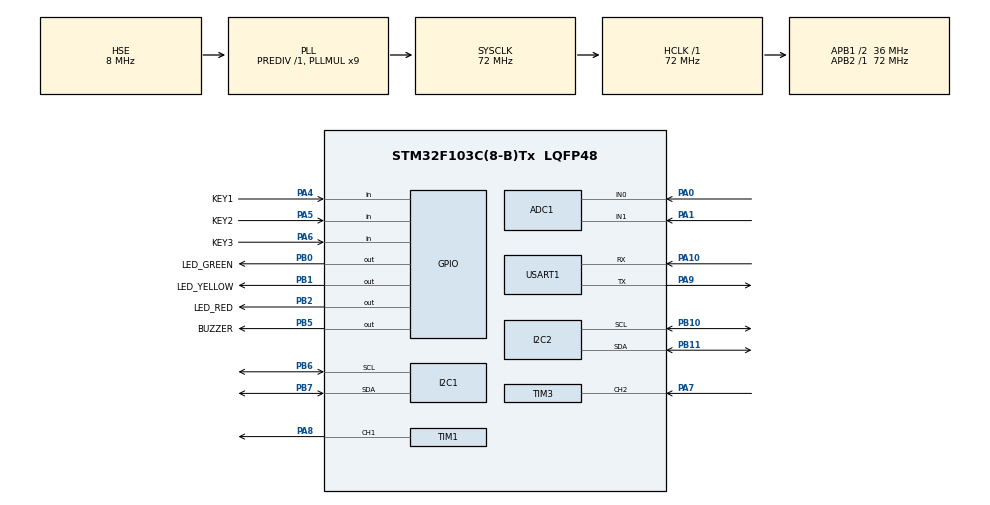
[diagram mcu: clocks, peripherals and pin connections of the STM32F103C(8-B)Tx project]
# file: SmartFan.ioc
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ADC1.Channel-0\#ChannelRegularConversion=ADC_CHANNEL_0
ADC1.NbrOfConversionFlag=1
ADC1.Rank-0\#ChannelRegularConversion=1
ADC1.SamplingTime-0\#ChannelRegularConversion=ADC_SAMPLETIME_1CYCLE_5
ADC1.master=1
IWDG.Prescaler=IWDG_PRESCALER_64
IWDG.Reload=2500
Mcu.Family=STM32F1
Mcu.Name=STM32F103C(8-B)Tx
Mcu.Package=LQFP48
NVIC.PriorityGroup=NVIC_PRIORITYGROUP_4
NVIC.TIM3_IRQn=true\:1\:0\:true\:false\:true\:true\:true\:true
PA0-WKUP.Signal=ADCx_IN0
PA1.Signal=ADCx_IN1
PA10.Mode=Asynchronous
PA10.Signal=USART1_RX
PA13.Mode=Serial_Wire
PA13.Signal=SYS_JTMS-SWDIO
PA14.Mode=Serial_Wire
PA14.Signal=SYS_JTCK-SWCLK
PA4.GPIO_Label=KEY1
PA4.GPIO_PuPd=GPIO_PULLUP
PA4.Signal=GPIO_Input
PA5.GPIO_Label=KEY2
PA5.GPIO_PuPd=GPIO_PULLUP
PA5.Signal=GPIO_Input
PA6.GPIO_Label=KEY3
PA6.GPIO_PuPd=GPIO_PULLUP
PA6.Signal=GPIO_Input
PA7.GPIO_PuPd=GPIO_PULLUP
PA7.Signal=S_TIM3_CH2
PA8.Signal=S_TIM1_CH1
PA9.Mode=Asynchronous
PA9.Signal=USART1_TX
PB0.GPIO_Label=LED_GREEN
PB0.PinState=GPIO_PIN_SET
PB0.Signal=GPIO_Output
PB1.GPIO_Label=LED_YELLOW
PB1.PinState=GPIO_PIN_SET
PB1.Signal=GPIO_Output
PB10.Mode=I2C
PB10.Signal=I2C2_SCL
PB11.Mode=I2C
PB11.Signal=I2C2_SDA
PB2.GPIO_Label=LED_RED
PB2.PinState=GPIO_PIN_SET
PB2.Signal=GPIO_Output
PB5.GPIO_Label=BUZZER
PB5.PinState=GPIO_PIN_SET
PB5.Signal=GPIO_Output
PB6.Mode=I2C
PB6.Signal=I2C1_SCL
PB7.Mode=I2C
PB7.Signal=I2C1_SDA
PD0-OSC_IN.Mode=HSE-External-Oscillator
PD0-OSC_IN.Signal=RCC_OSC_IN
PD1-OSC_OUT.Mode=HSE-External-Oscillator
PD1-OSC_OUT.Signal=RCC_OSC_OUT
ProjectManager.HeapSize=0x200
ProjectManager.StackSize=0x400
ProjectManager.TargetToolchain=MDK-ARM V5.32
RCC.ADCPresc=RCC_ADCPCLK2_DIV6
RCC.AHBFreq_Value=72000000
RCC.APB1CLKDivider=RCC_HCLK_DIV2
RCC.APB1Freq_Value=36000000
RCC.APB1TimFreq_Value=72000000
RCC.APB2Freq_Value=72000000
RCC.APB2TimFreq_Value=72000000
RCC.HCLKFreq_Value=72000000
RCC.PLLMUL=RCC_PLL_MUL9
RCC.PLLSourceVirtual=RCC_PLLSOURCE_HSE
RCC.SYSCLKFreq_VALUE=72000000
RCC.SYSCLKSource=RCC_SYSCLKSOURCE_PLLCLK
RCC.USBFreq_Value=72000000
SH.ADCx_IN0.0=ADC1_IN0,IN0
SH.ADCx_IN1.0=ADC1_IN1,IN1
SH.S_TIM1_CH1.0=TIM1_CH1,PWM Generation1 CH1
SH.S_TIM3_CH2.0=TIM3_CH2,Input_Capture2_from_TI2
TIM1.Channel-PWM\ Generation1\ CH1=TIM_CHANNEL_1
TIM1.Period=2879
TIM3.Channel-Input_Capture2_from_TI2=TIM_CHANNEL_2
TIM3.ICFilter_CH2=15
TIM3.ICPolarity_CH2=TIM_INPUTCHANNELPOLARITY_FALLING
TIM3.Prescaler=71
USART1.VirtualMode=VM_ASYNC
VP_IWDG_VS_IWDG.Mode=IWDG_Activate
VP_TIM1_VS_ClockSourceINT.Mode=Internal
VP_TIM3_VS_ClockSourceINT.Mode=Internal
board=custom

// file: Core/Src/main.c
/* USER CODE BEGIN Header */
/**
  ******************************************************************************
  * @file           : main.c
  * @brief          : Main program body
  ******************************************************************************
  * @attention
  *
  * Copyright (c) 2026 STMicroelectronics.
  * All rights reserved.
  *
  * This software is licensed under terms that can be found in the LICENSE file
  * in the root directory of this software component.
  * If no LICENSE file comes with this software, it is provided AS-IS.
  *
  ******************************************************************************
  */
/* USER CODE END Header */
#include "main.h"
#include "adc.h"
#include "i2c.h"
#include "iwdg.h"
#include "tim.h"
#include "usart.h"
#include "gpio.h"

/* USER CODE BEGIN Includes */
#include "bsp_config.h"
#include "bsp_aht20.h"
#include "bsp_mlx90614.h"
#include "bsp_oled.h"
#include "bsp_pid.h"
#include "bsp_humidity.h"
#include "bsp_flash_storage.h"
#include "bsp_fan_tacho.h"
#include <stdio.h>
#include <string.h>
#include <math.h>
#include <stdarg.h>
/* USER CODE END Includes */

/* USER CODE BEGIN PV */
SystemData_t g_sys = {
    .state = SYS_STATE_PREHEAT,
    .fan_delay_sec = FAN_DELAY_DEFAULT,
    .acs712_zero_adc = ACS712_ZERO_CURRENT_ADC_DEFAULT,
    .acs712_stall_threshold = ACS712_STALL_THRESHOLD_DEFAULT,
};

static PID_Controller_t g_pid;
static uint8_t outdoor_fail_count = 0;

/* 非阻塞 AHT20 句柄 */
static AHT20_Handle_t h_aht20_indoor;
static AHT20_Handle_t h_aht20_outdoor;

/* 室内传感器连续失败计数 */
static uint8_t indoor_aht20_fail_cnt = 0;
/* USER CODE END PV */

void SystemClock_Config(void);
/* USER CODE BEGIN PFP */
static void App_Init(void);
static void App_ReadSensors(void);
static void App_UpdateStateMachine(void);
static void App_ExecuteOutput(void);
static void App_UpdateDisplay(void);
static void App_HandleKeys(void);
static void App_FlashDeferredSave(void);
static void App_ACS712_PeakTrack(void);

static uint16_t ADC_ReadChannel(uint32_t channel);
static uint16_t ADC_ReadFiltered(uint32_t channel, uint8_t count);
static float Filter_SlidingAverage(float new_value, float *buf, uint8_t size, uint8_t *index, bool *filled);
static bool Detect_HotWater(float t_water, float t_ambient);
static bool Detect_GasAlarm(uint16_t gas_adc);
static bool Detect_FanStall(uint16_t current_adc, uint16_t pwm_duty);
static float Convert_ACS712_ToCurrent(uint16_t adc_value);
static void ACS712_CalibrateZero(void);
static void I2C2_BusRecovery(void);
static void Fan_SetDuty(uint16_t duty);
static void Fan_Stop(void);
static void Buzzer_On(void);
static void Buzzer_Off(void);
static void LED_Set(bool green, bool yellow, bool red);
static void Debug_Print(const char *fmt, ...);

/* 温度 / 湿度双通道调速 */
static float Calc_TempDuty(float delta_t, float ambient_temp);
static uint16_t SlewRateLimit(float target, uint16_t current);
/* USER CODE END PFP */

int main(void)
{

  /* MCU Configuration--------------------------------------------------------*/

  /* Reset of all peripherals, Initializes the Flash interface and the Systick. */
  HAL_Init();

  /* Configure the system clock */
  SystemClock_Config();

  /* Initialize all configured peripherals */
  MX_GPIO_Init();
  MX_ADC1_Init();
  MX_I2C1_Init();
  MX_TIM1_Init();
  MX_USART1_UART_Init();
  MX_I2C2_Init();
  MX_TIM3_Init();
  MX_IWDG_Init();
  /* USER CODE BEGIN 2 */
  App_Init();
  /* USER CODE END 2 */

  /* Infinite loop */
  while (1)
  {

    /* USER CODE BEGIN 3 */
    App_HandleKeys();
    App_ReadSensors();
    App_UpdateStateMachine();
    App_ExecuteOutput();
    App_UpdateDisplay();
    App_FlashDeferredSave();
    App_ACS712_PeakTrack();
  }
  /* USER CODE END 3 */
}

void SystemClock_Config(void)
{
  RCC_OscInitTypeDef RCC_OscInitStruct = {0};
  RCC_ClkInitTypeDef RCC_ClkInitStruct = {0};
  RCC_PeriphCLKInitTypeDef PeriphClkInit = {0};

  /** Initializes the RCC Oscillators according to the specified parameters
  * in the RCC_OscInitTypeDef structure.
  */
  RCC_OscInitStruct.OscillatorType = RCC_OSCILLATORTYPE_LSI|RCC_OSCILLATORTYPE_HSE;
  RCC_OscInitStruct.HSEState = RCC_HSE_ON;
  RCC_OscInitStruct.HSEPredivValue = RCC_HSE_PREDIV_DIV1;
  RCC_OscInitStruct.HSIState = RCC_HSI_ON;
  RCC_OscInitStruct.LSIState = RCC_LSI_ON;
  RCC_OscInitStruct.PLL.PLLState = RCC_PLL_ON;
  RCC_OscInitStruct.PLL.PLLSource = RCC_PLLSOURCE_HSE;
  RCC_OscInitStruct.PLL.PLLMUL = RCC_PLL_MUL9;
  if (HAL_RCC_OscConfig(&RCC_OscInitStruct) != HAL_OK)
  {
    Error_Handler();
  }

  /** Initializes the CPU, AHB and APB buses clocks
  */
  RCC_ClkInitStruct.ClockType = RCC_CLOCKTYPE_HCLK|RCC_CLOCKTYPE_SYSCLK
                              |RCC_CLOCKTYPE_PCLK1|RCC_CLOCKTYPE_PCLK2;
  RCC_ClkInitStruct.SYSCLKSource = RCC_SYSCLKSOURCE_PLLCLK;
  RCC_ClkInitStruct.AHBCLKDivider = RCC_SYSCLK_DIV1;
  RCC_ClkInitStruct.APB1CLKDivider = RCC_HCLK_DIV2;
  RCC_ClkInitStruct.APB2CLKDivider = RCC_HCLK_DIV1;

  if (HAL_RCC_ClockConfig(&RCC_ClkInitStruct, FLASH_LATENCY_2) != HAL_OK)
  {
    Error_Handler();
  }
  PeriphClkInit.PeriphClockSelection = RCC_PERIPHCLK_ADC;
  PeriphClkInit.AdcClockSelection = RCC_ADCPCLK2_DIV6;
  if (HAL_RCCEx_PeriphCLKConfig(&PeriphClkInit) != HAL_OK)
  {
    Error_Handler();
  }
}

/* USER CODE BEGIN 4 */

/* ======================== 应用层初始化 ======================== */
static void App_Init(void)
{
    FlashStorage_t flash_data;

    /* 启动 PWM 输出 */
    HAL_TIM_PWM_Start(&htim1, TIM_CHANNEL_1);
    Fan_Stop();
    LED_Set(false, false, false);
    Buzzer_Off();

    /* ADC 自校准 */
    HAL_ADCEx_Calibration_Start(&hadc1);

    /* 从 Flash 加载参数 (带范围校验) */
    if (Flash_Load(&flash_data)) {
        if (flash_data.fan_delay_sec >= FAN_DELAY_MIN &&
            flash_data.fan_delay_sec <= FAN_DELAY_MAX) {
            g_sys.fan_delay_sec = flash_data.fan_delay_sec;
        }
        if (flash_data.pid_kp >= 0.0f && flash_data.pid_kp <= 10000.0f &&
            flash_data.pid_ki >= 0.0f && flash_data.pid_ki <= 1000.0f &&
            flash_data.pid_kd >= 0.0f && flash_data.pid_kd <= 10000.0f) {
            PID_Init(&g_pid, flash_data.pid_kp, flash_data.pid_ki, flash_data.pid_kd,
                     PID_OUTPUT_MIN, PID_OUTPUT_MAX);
        } else {
            PID_Init(&g_pid, PID_KP_DEFAULT, PID_KI_DEFAULT, PID_KD_DEFAULT,
                     PID_OUTPUT_MIN, PID_OUTPUT_MAX);
        }
        if (flash_data.acs_zero_adc >= 1500 && flash_data.acs_zero_adc <= 2200) {
            g_sys.acs712_zero_adc = flash_data.acs_zero_adc;
        }
        Debug_Print("Flash: 参数加载成功\r\n");
    } else {
        PID_Init(&g_pid, PID_KP_DEFAULT, PID_KI_DEFAULT, PID_KD_DEFAULT,
                 PID_OUTPUT_MIN, PID_OUTPUT_MAX);
        Debug_Print("Flash: 首次启动, 使用默认参数\r\n");
    }

    /* 初始化室内 AHT20 (I2C1) — 阻塞初始化命令 + 非阻塞句柄 */
    if (AHT20_Init(&hi2c1) == HAL_OK) {
        g_sys.indoor_aht20_ok = true;
    } else {
        g_sys.indoor_aht20_ok = false;
        Debug_Print("ERR:AHT20 室内 Init Fail\r\n");
    }
    AHT20_Handle_Init(&h_aht20_indoor, &hi2c1);
    g_sys.indoor_aht20_last = HAL_GetTick();

    /* 初始化室外 AHT20 (I2C2) */
    if (AHT20_Init(&hi2c2) == HAL_OK) {
        g_sys.outdoor_sensor_ok = true;
    } else {
        g_sys.outdoor_sensor_ok = false;
        Debug_Print("WARN:AHT20 室外 Init Fail\r\n");
    }
    AHT20_Handle_Init(&h_aht20_outdoor, &hi2c2);

    /* 初始化风扇测速 */
    FanTacho_Init();

    /* 初始化 OLED 显示屏 */
    OLED_Init(&hi2c1);
    OLED_Clear();
    OLED_ShowString(0, 0, "Smart Exhaust V3");
    OLED_ShowString(0, 2, "MQ2 Preheating");
    OLED_ShowString(0, 4, "ACS712 Calib...");
    OLED_Refresh();

    /* ACS712 零点自适应校准 (风扇静止时采样) */
    ACS712_CalibrateZero();

    /* 非阻塞预热: 记录时间, 进入 PREHEAT 状态 */
    g_sys.preheat_start_tick = HAL_GetTick();
    g_sys.state = SYS_STATE_PREHEAT;
    g_sys.mq2_ready = false;

    Debug_Print("系统启动... MQ-2 非阻塞预热中\r\n");
}

/* ======================== 传感器采样 ======================== */
static void App_ReadSensors(void)
{
    static float ir_obj_buf[TEMP_FILTER_SIZE] = {0};
    static float env_temp_buf[TEMP_FILTER_SIZE] = {0};
    static uint8_t ir_idx = 0, env_idx = 0;
    static bool ir_filled = false, env_filled = false;
    float mlx_ta = 0.0f, mlx_tobj = 0.0f;
    uint32_t now = HAL_GetTick();

    /* ---- 室内 AHT20 (非阻塞) ---- */
    AHT20_Poll(&h_aht20_indoor);
    if (h_aht20_indoor.data_fresh) {
        g_sys.ambient_temp = Filter_SlidingAverage(
            h_aht20_indoor.temperature, env_temp_buf, TEMP_FILTER_SIZE, &env_idx, &env_filled);
        g_sys.ambient_humi = h_aht20_indoor.humidity;
        g_sys.indoor_abs_humi = Humidity_CalcAbsolute(g_sys.ambient_temp, g_sys.ambient_humi);
        g_sys.indoor_aht20_ok = true;
        g_sys.indoor_aht20_last = now;
        indoor_aht20_fail_cnt = 0;
    } else if (h_aht20_indoor.state == AHT20_STATE_ERROR) {
        if (indoor_aht20_fail_cnt < 255) indoor_aht20_fail_cnt++;
        if (indoor_aht20_fail_cnt >= INDOOR_AHT20_FAIL_DEGRADE) {
            g_sys.indoor_aht20_ok = false;
        }
    }
    if (g_sys.indoor_aht20_ok && (now - g_sys.indoor_aht20_last > SENSOR_STALE_TIMEOUT_MS)) {
        g_sys.indoor_aht20_ok = false;
    }

    /* ---- 室外 AHT20 (非阻塞) ---- */
    AHT20_Poll(&h_aht20_outdoor);
    if (h_aht20_outdoor.data_fresh) {
        g_sys.outdoor_temp = h_aht20_outdoor.temperature;
        g_sys.outdoor_humi = h_aht20_outdoor.humidity;
        g_sys.outdoor_abs_humi = Humidity_CalcAbsolute(g_sys.outdoor_temp, g_sys.outdoor_humi);
        g_sys.outdoor_sensor_ok = true;
        outdoor_fail_count = 0;
    } else if (h_aht20_outdoor.state == AHT20_STATE_ERROR) {
        if (++outdoor_fail_count >= ABS_HUMI_OUTDOOR_FAIL_MAX) {
            g_sys.outdoor_sensor_ok = false;
            g_sys.outdoor_temp = ABS_HUMI_OUTDOOR_DEFAULT_T;
            g_sys.outdoor_humi = ABS_HUMI_OUTDOOR_DEFAULT_RH;
            g_sys.outdoor_abs_humi = Humidity_CalcAbsolute(ABS_HUMI_OUTDOOR_DEFAULT_T, ABS_HUMI_OUTDOOR_DEFAULT_RH);
            if (outdoor_fail_count == ABS_HUMI_OUTDOOR_FAIL_MAX) {
                I2C2_BusRecovery();
                AHT20_Init(&hi2c2);
                AHT20_Handle_Init(&h_aht20_outdoor, &hi2c2);
                outdoor_fail_count = 0;
            }
        }
    }

    /* ---- 红外测温 MLX90614 (I2C1, 交替读 Ta/Tobj 减半阻塞) ---- */
    {
        static uint32_t mlx_last_read = 0;
        static bool mlx_read_ta_next = true;
        static uint8_t mlx_ta_fail_cnt = 0;
        static uint8_t mlx_obj_fail_cnt = 0;
        if (now - mlx_last_read >= 150) {
            mlx_last_read = now;
            HAL_StatusTypeDef ret;
            if (mlx_read_ta_next) {
                ret = MLX90614_ReadAmbient(&hi2c1, &mlx_ta);
                if (ret == HAL_OK) {
                    g_sys.ir_ambient_temp = mlx_ta;
                    g_sys.mlx90614_ok = true;
                    g_sys.mlx90614_last = now;
                    mlx_ta_fail_cnt = 0;
                } else {
                    if (mlx_ta_fail_cnt < 255) mlx_ta_fail_cnt++;
                    if (mlx_ta_fail_cnt >= MLX90614_FAIL_DEGRADE) {
                        g_sys.mlx90614_ok = false;
                    }
                }
            } else {
                ret = MLX90614_ReadObject(&hi2c1, &mlx_tobj);
                if (ret == HAL_OK) {
                    g_sys.ir_object_temp = Filter_SlidingAverage(mlx_tobj, ir_obj_buf, TEMP_FILTER_SIZE, &ir_idx, &ir_filled);
                    g_sys.mlx90614_obj_ok = true;
                    g_sys.mlx90614_obj_last = now;
                    mlx_obj_fail_cnt = 0;
                } else {
                    if (mlx_obj_fail_cnt < 255) mlx_obj_fail_cnt++;
                    if (mlx_obj_fail_cnt >= MLX90614_FAIL_DEGRADE) {
                        g_sys.mlx90614_obj_ok = false;
                    }
                }
            }
            mlx_read_ta_next = !mlx_read_ta_next;
        }
    }
    if (g_sys.mlx90614_ok && (now - g_sys.mlx90614_last > SENSOR_STALE_TIMEOUT_MS)) {
        g_sys.mlx90614_ok = false;
    }
    if (g_sys.mlx90614_obj_ok && (now - g_sys.mlx90614_obj_last > SENSOR_STALE_TIMEOUT_MS)) {
        g_sys.mlx90614_obj_ok = false;
    }

    /* ---- ADC 采样: 气体 + 电流 ---- */
    g_sys.gas_adc = ADC_ReadFiltered(MQ2_ADC_CHANNEL, ADC_FILTER_SIZE);
    g_sys.current_adc = ADC_ReadFiltered(ACS712_ADC_CHANNEL, ADC_FILTER_SIZE);
    g_sys.fan_current_a = Convert_ACS712_ToCurrent(g_sys.current_adc);

    /* ---- 风扇转速 ---- */
    g_sys.fan_rpm = FanTacho_GetRPM();

    /* ---- 状态判断 ---- */
    g_sys.gas_detected = g_sys.mq2_ready ? Detect_GasAlarm(g_sys.gas_adc) : false;
    /* 热水判定需要 MLX90614 Tobj 和室内 AHT20 同时有效 */
    g_sys.hot_water_detected = (g_sys.mlx90614_obj_ok && g_sys.indoor_aht20_ok) ?
        Detect_HotWater(g_sys.ir_object_temp, g_sys.ambient_temp) : false;
    g_sys.stall_detected = Detect_FanStall(g_sys.current_adc, g_sys.pwm_duty);
    /* 传感器降级时禁止收敛判定, 仅走基础延时 + 强制超时 */
    g_sys.humidity_converged = (g_sys.indoor_aht20_ok && g_sys.outdoor_sensor_ok) ?
        Humidity_IsConverged(g_sys.indoor_abs_humi, g_sys.outdoor_abs_humi) : false;
}

/* ======================== 状态机 ======================== */
static void App_UpdateStateMachine(void)
{
    SystemState_t prev = g_sys.state;

    /* PREHEAT 特殊处理: 预热完成后转 IDLE */
    if (g_sys.state == SYS_STATE_PREHEAT) {
        if ((HAL_GetTick() - g_sys.preheat_start_tick) >= MQ2_PREHEAT_TIME_MS) {
            g_sys.mq2_ready = true;
            g_sys.state = SYS_STATE_IDLE;
            Debug_Print("MQ-2 就绪\r\n");
        }
        if (prev != g_sys.state) {
            Debug_Print("State: %d -> %d\r\n", prev, g_sys.state);
        }
        return;
    }

    /* --- 堵转锁存: stall_detected 须持续 STALL_LATCH_CONFIRM_MS 才真正锁存 --- */
    if (g_sys.stall_detected && !g_sys.stall_latched) {
        if (g_sys.stall_latch_pending_tick == 0) {
            g_sys.stall_latch_pending_tick = HAL_GetTick();
        } else if ((HAL_GetTick() - g_sys.stall_latch_pending_tick) >= STALL_LATCH_CONFIRM_MS) {
            g_sys.stall_latched = true;
            g_sys.stall_latch_pending_tick = 0;
            g_sys.emerg_phase = 0;
            g_sys.emerg_running = false;
            g_sys.emerg_retry_tick = HAL_GetTick();
            Debug_Print("堵转锁存!\r\n");
        }
    } else if (!g_sys.stall_detected && !g_sys.stall_latched) {
        /* stall_detected 消失且尚未锁存 → 重置确认计时 */
        g_sys.stall_latch_pending_tick = 0;
    }

    /* --- 状态转换逻辑 --- */
    if (g_sys.stall_latched) {
        /* 堵转已锁存期间 */
        if (g_sys.gas_detected) {
            g_sys.state = SYS_STATE_STALL_GAS_EMERG;
        } else {
            /* 气体解除 or 没有气体 → 普通堵转锁存 */
            if (g_sys.state == SYS_STATE_STALL_GAS_EMERG) {
                /* 退出应急: 停风扇, 重置应急状态 */
                g_sys.emerg_phase = 0;
                g_sys.emerg_running = false;
            }
            g_sys.state = SYS_STATE_STALL_FAULT;
        }
    } else {
        /* 无堵转锁存 — 正常优先级逻辑 */
        if (g_sys.gas_detected) {
            g_sys.state = SYS_STATE_GAS_ALARM;
        } else {
            switch (g_sys.state) {
            case SYS_STATE_GAS_ALARM:
                g_sys.state = g_sys.hot_water_detected ? SYS_STATE_HOT_WATER : SYS_STATE_IDLE;
                break;

            case SYS_STATE_IDLE:
                if (g_sys.hot_water_detected) {
                    g_sys.state = SYS_STATE_HOT_WATER;
                    PID_Reset(&g_pid);
                    PID_SetSetpoint(&g_pid, g_sys.outdoor_abs_humi);
                }
                break;

            case SYS_STATE_HOT_WATER:
                /* setpoint 刷新已移至 App_ExecuteOutput() 中 PID_Compute 调用前 */
                if (!g_sys.hot_water_detected) {
                    g_sys.state = SYS_STATE_DELAY_STOP;
                    g_sys.delay_start_tick = HAL_GetTick();
                    g_sys.delay_stop_enter_tick = HAL_GetTick(); /* 记录进入时刻, 用于温度衰减 */
                }
                break;

            case SYS_STATE_DELAY_STOP: {
                uint32_t elapsed = HAL_GetTick() - g_sys.delay_start_tick;
                uint32_t base_ms = g_sys.fan_delay_sec * 1000UL;
                uint32_t force_ms = g_sys.fan_delay_sec * FAN_DELAY_FORCE_MULT * 1000UL;

                if (g_sys.hot_water_detected) {
                    g_sys.state = SYS_STATE_HOT_WATER;
                } else if (elapsed < base_ms) {
                    /* 基础延时阶段: 无条件运行 */
                } else if (g_sys.humidity_converged) {
                    g_sys.state = SYS_STATE_IDLE;
                    PID_Reset(&g_pid);
                } else if (elapsed >= force_ms) {
                    g_sys.state = SYS_STATE_IDLE;
                    PID_Reset(&g_pid);
                    Debug_Print("强制超时停机\r\n");
                }
                break;
            }

            default:
                g_sys.state = SYS_STATE_IDLE;
                break;
            }
        }
    }

    if (prev != g_sys.state) {
        Debug_Print("State: %d -> %d\r\n", prev, g_sys.state);
    }
}

/* ======================== 执行输出 ======================== */
static void App_ExecuteOutput(void)
{
    static uint32_t beep_tick = 0;
    static bool beep_flip = false;
    uint16_t min_duty = (uint16_t)(PWM_MAX_DUTY * HOT_WATER_MIN_DUTY_PCT / 100);
    uint16_t temp_limit = (uint16_t)(PWM_MAX_DUTY * TEMP_LIMIT_MAX_DUTY_PCT / 100);
    uint16_t outdoor_degrade_duty = (uint16_t)(PWM_MAX_DUTY * OUTDOOR_DEGRADE_DUTY_PCT / 100);

    /* 喂狗 */
    HAL_IWDG_Refresh(&hiwdg);

    switch (g_sys.state) {
    case SYS_STATE_PREHEAT:
        g_sys.pwm_duty = 0;
        Fan_Stop();
        /* 黄灯慢闪表示预热中 */
        LED_Set(false, (HAL_GetTick() / 500) & 1, false);
        Buzzer_Off();
        break;

    case SYS_STATE_GAS_ALARM:
        g_sys.pwm_duty = PWM_MAX_DUTY;
        Fan_SetDuty(g_sys.pwm_duty);
        LED_Set(false, false, true);
        if (HAL_GetTick() - beep_tick >= 200) {
            beep_tick = HAL_GetTick();
            beep_flip = !beep_flip;
            if (beep_flip) Buzzer_On(); else Buzzer_Off();
        }
        break;

    case SYS_STATE_STALL_FAULT:
        g_sys.pwm_duty = 0;
        Fan_Stop();
        LED_Set(false, false, true);
        if (HAL_GetTick() - beep_tick >= 500) {
            beep_tick = HAL_GetTick();
            beep_flip = !beep_flip;
            if (beep_flip) Buzzer_On(); else Buzzer_Off();
        }
        break;

    case SYS_STATE_STALL_GAS_EMERG: {
        /* 更急促的蜂鸣器报警: 100ms 翻转 */
        LED_Set(false, false, true);
        if (HAL_GetTick() - beep_tick >= 100) {
            beep_tick = HAL_GetTick();
            beep_flip = !beep_flip;
            if (beep_flip) Buzzer_On(); else Buzzer_Off();
        }

        /* --- 间歇试启动逻辑 --- */
        uint16_t emerg_duty = (uint16_t)(PWM_MAX_DUTY * EMERG_RETRY_DUTY_PCT / 100);
        uint32_t now_e = HAL_GetTick();

        if (g_sys.emerg_phase == 0) {
            /* 冷却/等待阶段 */
            g_sys.pwm_duty = 0;
            Fan_Stop();
            if (now_e - g_sys.emerg_retry_tick >= EMERG_RETRY_INTERVAL_MS) {
                /* 开始试启动 */
                g_sys.emerg_phase = 1;
                g_sys.emerg_retry_tick = now_e;
                g_sys.emerg_running = true;
                Debug_Print("EMERG: 试启动\r\n");
            }
        } else {
            /* 试运行阶段 */
            uint32_t run_elapsed = now_e - g_sys.emerg_retry_tick;

            /* 电流异常检查: 仅在旋转建立宽限期之后 (启动浪涌电流正常, 不检查) */
            bool current_abnormal_e = false;
            if (run_elapsed >= EMERG_SPINUP_GRACE_MS) {
                int16_t diff_e = (int16_t)g_sys.current_adc - (int16_t)g_sys.acs712_zero_adc;
                if (diff_e < 0) diff_e = -diff_e;
                current_abnormal_e = (diff_e > (int16_t)g_sys.acs712_stall_threshold);
            }

            if (current_abnormal_e) {
                /* 电流异常, 立即停止 */
                g_sys.emerg_phase = 0;
                g_sys.emerg_retry_tick = now_e;
                g_sys.emerg_running = false;
                g_sys.pwm_duty = 0;
                Fan_Stop();
                Debug_Print("EMERG: 电流异常, 停止\r\n");
            } else if (run_elapsed >= (EMERG_SPINUP_GRACE_MS + EMERG_RETRY_DURATION_MS)
                       && g_sys.fan_rpm < EMERG_RPM_MIN) {
                /* 旋转建立宽限 + 检测窗口均已过, RPM 仍过低 → 停止 */
                g_sys.emerg_phase = 0;
                g_sys.emerg_retry_tick = now_e;
                g_sys.emerg_running = false;
                g_sys.pwm_duty = 0;
                Fan_Stop();
                Debug_Print("EMERG: RPM过低, 停止\r\n");
            } else {
                /* 正在试运行 / 试启动成功继续运行 */
                g_sys.pwm_duty = emerg_duty;
                Fan_SetDuty(emerg_duty);
            }
        }
        break;
    }

    case SYS_STATE_HOT_WATER: {
        /* --- 温度通道 --- */
        float delta_t_hw = g_sys.ir_object_temp - g_sys.ambient_temp;
        float duty_temp_hw = Calc_TempDuty(delta_t_hw, g_sys.ambient_temp);

        /* --- 湿度通道 (PID) --- */
        float duty_humi_hw;
        if (!g_sys.outdoor_sensor_ok) {
            /* 室外传感器离线 → 湿度通道使用保守固定值 */
            duty_humi_hw = (float)outdoor_degrade_duty;
        } else {
            /* 每次计算前刷新 setpoint, 保证湿度基线实时跟踪室外变化 */
            PID_SetSetpoint(&g_pid, g_sys.outdoor_abs_humi);
            duty_humi_hw = PID_Compute(&g_pid, g_sys.indoor_abs_humi);
        }

        /* --- 取较大值: 谁更急谁主导 --- */
        float target_duty_hw = (duty_temp_hw > duty_humi_hw) ? duty_temp_hw : duty_humi_hw;

        /* --- 安全约束 --- */
        if (target_duty_hw < (float)min_duty) target_duty_hw = (float)min_duty;
        if (g_sys.ambient_temp < TEMP_LOW_LIMIT && target_duty_hw > (float)temp_limit) {
            target_duty_hw = (float)temp_limit;
        }

        /* --- 斜率限制 → 最终输出 --- */
        g_sys.pwm_duty = SlewRateLimit(target_duty_hw, g_sys.pwm_duty);
        Fan_SetDuty(g_sys.pwm_duty);
        LED_Set(false, true, false);
        Buzzer_Off();

        /* --- 串口调试 (每 2s) --- */
        {
            static uint32_t dbg_hw_tick = 0;
            if (HAL_GetTick() - dbg_hw_tick >= 2000) {
                dbg_hw_tick = HAL_GetTick();
                Debug_Print("HW d_T:%u d_H:%u max:%u slew:%u PWM:%u%% RPM:%u\r\n",
                            (uint16_t)duty_temp_hw, (uint16_t)duty_humi_hw,
                            (uint16_t)target_duty_hw, g_sys.pwm_duty,
                            (g_sys.pwm_duty * 100) / PWM_MAX_DUTY, g_sys.fan_rpm);
            }
        }
        break;
    }

    case SYS_STATE_DELAY_STOP: {
        /* --- 温度通道 (热水已停, 温差逐渐缩小) --- */
        float delta_t_ds = g_sys.ir_object_temp - g_sys.ambient_temp;
        float duty_temp_ds = Calc_TempDuty(delta_t_ds, g_sys.ambient_temp);

        /* --- 湿度通道 --- */
        float duty_humi_ds;
        if (!g_sys.outdoor_sensor_ok) {
            duty_humi_ds = (float)outdoor_degrade_duty;
        } else {
            /* 每次计算前刷新 setpoint, 保证湿度基线实时跟踪室外变化 */
            PID_SetSetpoint(&g_pid, g_sys.outdoor_abs_humi);
            duty_humi_ds = PID_Compute(&g_pid, g_sys.indoor_abs_humi);
        }

        /* --- 湿度主导, 温度衰减参与 --- */
        /* 衰减窗口绑定基础延时: decay_ms = fan_delay_sec * 1000 */
        uint32_t decay_ms = g_sys.fan_delay_sec * 1000UL;
        float decay = 1.0f - ((float)(HAL_GetTick() - g_sys.delay_stop_enter_tick)
                              / (float)decay_ms);
        if (decay < 0.0f) decay = 0.0f;
        float duty_temp_decayed = duty_temp_ds * decay;

        /* 取湿度需求与衰减后温度需求的较大值 */
        float target_duty_ds = (duty_humi_ds > duty_temp_decayed) ? duty_humi_ds : duty_temp_decayed;

        /* --- 安全约束: DELAY_STOP 最低用 FAN_4WIRE_MIN_PWM_PCT --- */
        uint16_t ds_min_duty = (uint16_t)(PWM_MAX_DUTY * FAN_4WIRE_MIN_PWM_PCT / 100);
        if (target_duty_ds < (float)ds_min_duty) target_duty_ds = (float)ds_min_duty;
        if (g_sys.ambient_temp < TEMP_LOW_LIMIT && target_duty_ds > (float)temp_limit) {
            target_duty_ds = (float)temp_limit;
        }

        /* --- 斜率限制 → 最终输出 --- */
        g_sys.pwm_duty = SlewRateLimit(target_duty_ds, g_sys.pwm_duty);
        Fan_SetDuty(g_sys.pwm_duty);
        LED_Set(true, true, false);
        Buzzer_Off();

        /* --- 串口调试 (每 2s) --- */
        {
            static uint32_t dbg_ds_tick = 0;
            if (HAL_GetTick() - dbg_ds_tick >= 2000) {
                dbg_ds_tick = HAL_GetTick();
                Debug_Print("DS d_T:%u d_H:%u dcy:%.2f tgt:%u slew:%u RPM:%u\r\n",
                            (uint16_t)duty_temp_ds, (uint16_t)duty_humi_ds,
                            decay, (uint16_t)target_duty_ds, g_sys.pwm_duty, g_sys.fan_rpm);
            }
        }
        break;
    }

    case SYS_STATE_IDLE:
    default:
        g_sys.pwm_duty = 0;
        Fan_Stop();
        LED_Set(true, false, false);
        Buzzer_Off();
        break;
    }
}

/* ======================== 显示更新 ======================== */
static void App_UpdateDisplay(void)
{
    static uint32_t last_refresh = 0;
    /* 限制刷新频率, 避免主循环无延时时 OLED 刷新过快 */
    if (HAL_GetTick() - last_refresh < 200) return;
    last_refresh = HAL_GetTick();

    char line[32];

    OLED_Clear();

    /* 第 0 行: 模式 + 传感器状态 */
    switch (g_sys.state) {
    case SYS_STATE_PREHEAT:
        snprintf(line, sizeof(line), "MODE:PREHEAT %lus",
                 (unsigned long)((MQ2_PREHEAT_TIME_MS - (HAL_GetTick() - g_sys.preheat_start_tick)) / 1000));
        OLED_ShowString(0, 0, line);
        break;
    case SYS_STATE_GAS_ALARM:
        OLED_ShowString(0, 0, "MODE:GAS ALARM");
        break;
    case SYS_STATE_STALL_FAULT:
        OLED_ShowString(0, 0, "MODE:STALL ERR");
        break;
    case SYS_STATE_STALL_GAS_EMERG:
        OLED_ShowString(0, 0, "GAS+FAN FAULT");
        break;
    case SYS_STATE_HOT_WATER:
        OLED_ShowString(0, 0, g_sys.outdoor_sensor_ok ? "MODE:HOT WATER" : "MODE:HOT W(DEG)");
        break;
    case SYS_STATE_DELAY_STOP:
        OLED_ShowString(0, 0, "MODE:DEHUMID");
        break;
    default:
        OLED_ShowString(0, 0, "MODE:IDLE");
        break;
    }

    /* 第 1 行: 室内温湿度 + 传感器状态 */
    snprintf(line, sizeof(line), "In:%4.1fC %2.0f%%%c",
             g_sys.ambient_temp, g_sys.ambient_humi,
             g_sys.indoor_aht20_ok ? ' ' : '!');
    OLED_ShowString(0, 1, line);

    /* 第 2 行: 室外温湿度 */
    if (g_sys.outdoor_sensor_ok) {
        snprintf(line, sizeof(line), "Out:%4.1fC %2.0f%%", g_sys.outdoor_temp, g_sys.outdoor_humi);
    } else {
        snprintf(line, sizeof(line), "Out:OFFLINE");
    }
    OLED_ShowString(0, 2, line);

    /* 第 3 行: 绝对湿度差 & 水温 + MLX 状态 */
    snprintf(line, sizeof(line), "dAH:%4.1f Tw:%4.1f%c",
             g_sys.indoor_abs_humi - g_sys.outdoor_abs_humi, g_sys.ir_object_temp,
             g_sys.mlx90614_obj_ok ? ' ' : '!');
    OLED_ShowString(0, 3, line);

    /* 第 4 行: PWM & RPM + 温度通道ΔT */
    {
        float disp_dt = g_sys.ir_object_temp - g_sys.ambient_temp;
        snprintf(line, sizeof(line), "P:%2u%% R:%u dT:%.0f",
                 (g_sys.pwm_duty * 100) / PWM_MAX_DUTY, g_sys.fan_rpm, disp_dt);
    }
    OLED_ShowString(0, 4, line);

    /* 第 5 行: 气体 & 电流 */
    snprintf(line, sizeof(line), "Gas:%4u I:%1.2fA", g_sys.gas_adc, g_sys.fan_current_a);
    OLED_ShowString(0, 5, line);

    /* 第 6 行: 延时 / 状态 — Base/Force 分离 */
    if (g_sys.state == SYS_STATE_DELAY_STOP) {
        uint32_t elapsed_s = (HAL_GetTick() - g_sys.delay_start_tick) / 1000UL;
        uint32_t base_s = g_sys.fan_delay_sec;
        uint32_t force_s = g_sys.fan_delay_sec * FAN_DELAY_FORCE_MULT;
        uint32_t base_rem = (elapsed_s < base_s) ? (base_s - elapsed_s) : 0;
        uint32_t force_rem = (elapsed_s < force_s) ? (force_s - elapsed_s) : 0;

        if (base_rem > 0) {
            snprintf(line, sizeof(line), "B:%lus F:%lus",
                     (unsigned long)base_rem, (unsigned long)force_rem);
        } else {
            snprintf(line, sizeof(line), "B:OK F:%lus",
                     (unsigned long)force_rem);
        }
        OLED_ShowString(0, 6, line);
        OLED_ShowString(90, 6, g_sys.humidity_converged ? "H:OK" : "H:HI");
    } else {
        snprintf(line, sizeof(line), "Dly:%lus", (unsigned long)g_sys.fan_delay_sec);
        OLED_ShowString(0, 6, line);
        OLED_ShowString(66, 6, g_sys.gas_detected ? "Gas:ALM" : "Gas:NOR");
    }

    OLED_Refresh();
}

/* ======================== 按键处理 (消费 SysTick 中断设置的标志) ======================== */
static void App_HandleKeys(void)
{
    /* 原子快照: 关中断取值并清零, 防止 SysTick 置位与清零竞争 */
    __disable_irq();
    uint8_t evt = g_sys.key_event;
    g_sys.key_event = KEY_EVENT_NONE;
    __enable_irq();

    if (evt == KEY_EVENT_NONE) return;

    if (evt & KEY_EVENT_RESET) {
        if (g_sys.stall_latched) {
            g_sys.stall_latched = false;
            g_sys.stall_detected = false;
            g_sys.stall_start_tick = 0;
            g_sys.rpm_low_start_tick = 0;
            g_sys.stall_latch_pending_tick = 0;
            g_sys.emerg_phase = 0;
            g_sys.emerg_running = false;
            g_sys.emerg_retry_tick = 0;
            Debug_Print("堵转复位 (KEY1)\r\n");
        }
    }
    if (evt & KEY_EVENT_DELAY_UP) {
        if (g_sys.fan_delay_sec < FAN_DELAY_MAX) {
            g_sys.fan_delay_sec += FAN_DELAY_STEP;
            g_sys.flash_dirty = true;
            g_sys.flash_dirty_tick = HAL_GetTick();
        }
    }
    if (evt & KEY_EVENT_DELAY_DN) {
        if (g_sys.fan_delay_sec > FAN_DELAY_MIN) {
            g_sys.fan_delay_sec -= FAN_DELAY_STEP;
            g_sys.flash_dirty = true;
            g_sys.flash_dirty_tick = HAL_GetTick();
        }
    }
}

/* ======================== Flash 延迟保存 ======================== */
static void App_FlashDeferredSave(void)
{
    if (g_sys.flash_dirty &&
        (HAL_GetTick() - g_sys.flash_dirty_tick >= FLASH_SAVE_DEFER_MS)) {
        FlashStorage_t save_data;
        save_data.magic = FLASH_STORAGE_MAGIC;
        save_data.pid_kp = g_pid.Kp;
        save_data.pid_ki = g_pid.Ki;
        save_data.pid_kd = g_pid.Kd;
        save_data.fan_delay_sec = g_sys.fan_delay_sec;
        save_data.acs_zero_adc = g_sys.acs712_zero_adc;
        save_data.reserved = 0;
        if (Flash_Save(&save_data)) {
            g_sys.flash_dirty = false;
            Debug_Print("延时已保存: %lu s\r\n", (unsigned long)g_sys.fan_delay_sec);
        } else {
            g_sys.flash_dirty_tick = HAL_GetTick();
            Debug_Print("WARN: Flash 保存失败, 稍后重试\r\n");
        }
    }
}

/* ======================== ACS712 启动峰值自适应 ======================== */
static void App_ACS712_PeakTrack(void)
{
    if (g_sys.fan_running) {
        if (!g_sys.acs712_startup_done) {
            if (g_sys.acs712_startup_tick == 0) {
                g_sys.acs712_startup_tick = HAL_GetTick();
                g_sys.acs712_peak_adc = 0;
            }

            int16_t diff = (int16_t)g_sys.current_adc - (int16_t)g_sys.acs712_zero_adc;
            if (diff < 0) diff = -diff;
            uint16_t abs_diff = (uint16_t)diff;
            if (abs_diff > g_sys.acs712_peak_adc) {
                g_sys.acs712_peak_adc = abs_diff;
            }

            if ((HAL_GetTick() - g_sys.acs712_startup_tick) >= ACS712_STARTUP_CALIB_MS) {
                if (g_sys.acs712_peak_adc > 10) {
                    g_sys.acs712_stall_threshold =
                        (uint16_t)(g_sys.acs712_peak_adc * ACS712_STALL_MULTIPLIER_NUM / ACS712_STALL_MULTIPLIER_DEN);
                }
                g_sys.acs712_startup_done = true;
                Debug_Print("ACS712 峰值:%u 堵转阈值:%u\r\n", g_sys.acs712_peak_adc, g_sys.acs712_stall_threshold);
            }
        }
    } else {
        /* 风扇停转时复位, 下次启动重新学习 */
        if (g_sys.acs712_startup_done || g_sys.acs712_startup_tick != 0) {
            g_sys.acs712_startup_done = false;
            g_sys.acs712_startup_tick = 0;
            g_sys.acs712_peak_adc = 0;
        }
    }
}

/* ======================== 核心算法: 热水判定 (迟滞比较) ======================== */
static bool Detect_HotWater(float t_water, float t_ambient)
{
    static bool hot_state = false;
    float delta = t_water - t_ambient;

    if (!hot_state) {
        if (delta >= HOTWATER_ON_THRESHOLD) hot_state = true;
    } else {
        if (delta < HOTWATER_OFF_THRESHOLD) hot_state = false;
    }
    return hot_state;
}

/* ======================== 核心算法: 气体/堵转判断 ======================== */
static bool Detect_GasAlarm(uint16_t gas_adc)
{
    static uint8_t alarm_count = 0;
    static uint8_t release_count = 0;
    static bool gas_alarm_state = false;

    if (!gas_alarm_state) {
        if (gas_adc >= GAS_ALARM_THRESHOLD) {
            release_count = 0;
            if (++alarm_count >= GAS_ALARM_CONFIRM_CNT) return (gas_alarm_state = true);
        } else {
            alarm_count = 0;
        }
    } else {
        if (gas_adc < GAS_RELEASE_THRESHOLD) {
            alarm_count = 0;
            if (++release_count >= GAS_RELEASE_CONFIRM_CNT) {
                gas_alarm_state = false;
            }
        } else {
            release_count = 0;
        }
    }
    return gas_alarm_state;
}

static bool Detect_FanStall(uint16_t current_adc, uint16_t pwm_duty)
{
    if (pwm_duty <= (PWM_MAX_DUTY * 30 / 100)) {
        g_sys.stall_start_tick = 0;
        g_sys.rpm_low_start_tick = 0;
        return false;
    }

    /* 判据1: 电流异常偏大 (堵转时电机锁定电流升高) */
    int16_t diff = (int16_t)current_adc - (int16_t)g_sys.acs712_zero_adc;
    if (diff < 0) diff = -diff;
    bool current_abnormal = (diff > (int16_t)g_sys.acs712_stall_threshold);

    /* 判据2: RPM 持续低于阈值 (有 PWM 输出但风扇不转) */
    bool rpm_low = (g_sys.fan_rpm < STALL_RPM_MIN);

    if (rpm_low) {
        if (g_sys.rpm_low_start_tick == 0) {
            g_sys.rpm_low_start_tick = HAL_GetTick();
        }
    } else {
        g_sys.rpm_low_start_tick = 0;
    }
    bool rpm_timeout = (g_sys.rpm_low_start_tick != 0) &&
                       ((HAL_GetTick() - g_sys.rpm_low_start_tick) >= STALL_RPM_TIMEOUT_MS);

    /* 电流异常持续计时 */
    if (current_abnormal) {
        if (g_sys.stall_start_tick == 0) {
            g_sys.stall_start_tick = HAL_GetTick();
        }
    } else {
        g_sys.stall_start_tick = 0;
    }
    bool current_timeout = (g_sys.stall_start_tick != 0) &&
                           ((HAL_GetTick() - g_sys.stall_start_tick) >= STALL_DETECT_TIME_MS);

    /* 任一条件满足即判定堵转 */
    return (current_timeout || rpm_timeout);
}

static float Convert_ACS712_ToCurrent(uint16_t adc_value)
{
    float v_adc = 3.3f * adc_value / 4095.0f;
    float v_zero = 3.3f * g_sys.acs712_zero_adc / 4095.0f;
    float v_sensor = (v_adc - v_zero) / 0.6f;
    float current = v_sensor / 0.185f;
    if (fabsf(current) < 0.03f) current = 0.0f;
    return fabsf(current);
}

/* ======================== ACS712 自适应零点校准 ======================== */
static void ACS712_CalibrateZero(void)
{
    uint32_t sum = 0;
    for (uint8_t i = 0; i < ACS712_CALIB_SAMPLES; i++) {
        sum += ADC_ReadChannel(ACS712_ADC_CHANNEL);
        HAL_Delay(5);
    }
    g_sys.acs712_zero_adc = (uint16_t)(sum / ACS712_CALIB_SAMPLES);
    g_sys.acs712_stall_threshold = ACS712_STALL_THRESHOLD_DEFAULT;
    Debug_Print("ACS712 零点: %u\r\n", g_sys.acs712_zero_adc);
}

/* ======================== I2C2 总线死锁恢复 ======================== */
static void I2C2_BusRecovery(void)
{
    GPIO_InitTypeDef gpio;

    /* 关闭 I2C2 外设 */
    HAL_I2C_DeInit(&hi2c2);

    /* 将 PB10(SCL) 和 PB11(SDA) 都切为开漏输出 + 上拉 */
    gpio.Pin = GPIO_PIN_10;
    gpio.Mode = GPIO_MODE_OUTPUT_OD;
    gpio.Pull = GPIO_PULLUP;
    gpio.Speed = GPIO_SPEED_FREQ_HIGH;
    HAL_GPIO_Init(GPIOB, &gpio);

    gpio.Pin = GPIO_PIN_11;
    gpio.Mode = GPIO_MODE_OUTPUT_OD;
    gpio.Pull = GPIO_PULLUP;
    gpio.Speed = GPIO_SPEED_FREQ_HIGH;
    HAL_GPIO_Init(GPIOB, &gpio);

    /* 释放 SDA (拉高) */
    HAL_GPIO_WritePin(GPIOB, GPIO_PIN_11, GPIO_PIN_SET);

    /* 发送 9 个时钟脉冲, 让从设备释放 SDA */
    for (uint8_t i = 0; i < 9; i++) {
        HAL_GPIO_WritePin(GPIOB, GPIO_PIN_10, GPIO_PIN_RESET);
        HAL_Delay(1);
        HAL_GPIO_WritePin(GPIOB, GPIO_PIN_10, GPIO_PIN_SET);
        HAL_Delay(1);
        if (HAL_GPIO_ReadPin(GPIOB, GPIO_PIN_11) == GPIO_PIN_SET) break;
    }

    /* 生成 STOP 条件: SDA 低 → SCL 高 → SDA 高 */
    HAL_GPIO_WritePin(GPIOB, GPIO_PIN_11, GPIO_PIN_RESET); /* SDA 低 */
    HAL_Delay(1);
    HAL_GPIO_WritePin(GPIOB, GPIO_PIN_10, GPIO_PIN_SET);   /* SCL 高 */
    HAL_Delay(1);
    HAL_GPIO_WritePin(GPIOB, GPIO_PIN_11, GPIO_PIN_SET);   /* SDA 高 (STOP) */
    HAL_Delay(1);

    /* 校验两线都为高 */
    if (HAL_GPIO_ReadPin(GPIOB, GPIO_PIN_10) != GPIO_PIN_SET ||
        HAL_GPIO_ReadPin(GPIOB, GPIO_PIN_11) != GPIO_PIN_SET) {
        Debug_Print("WARN: I2C2 恢复后总线仍异常\r\n");
    }

    /* 重新初始化 I2C2 */
    MX_I2C2_Init();
    Debug_Print("I2C2 总线恢复\r\n");
}

/* ======================== 通用底层函数 ======================== */
static uint16_t ADC_ReadChannel(uint32_t channel)
{
    static uint16_t last_val = 0; /* 上一次有效值, 故障时返回 */
    ADC_ChannelConfTypeDef sConfig = {0};
    sConfig.Channel = channel;
    sConfig.Rank = ADC_REGULAR_RANK_1;
    sConfig.SamplingTime = ADC_SAMPLETIME_239CYCLES_5;

    if (HAL_ADC_ConfigChannel(&hadc1, &sConfig) != HAL_OK) {
        return last_val; /* 通道配置失败, 返回上次值 */
    }

    if (HAL_ADC_Start(&hadc1) != HAL_OK) {
        return last_val;
    }

    if (HAL_ADC_PollForConversion(&hadc1, 20) != HAL_OK) {
        HAL_ADC_Stop(&hadc1);
        return last_val; /* 轮询超时, 返回上次值 */
    }

    uint16_t val = HAL_ADC_GetValue(&hadc1);
    HAL_ADC_Stop(&hadc1);
    last_val = val;
    return val;
}

static uint16_t ADC_ReadFiltered(uint32_t channel, uint8_t count)
{
    uint32_t sum = 0;
    for (uint8_t i = 0; i < count; i++) {
        sum += ADC_ReadChannel(channel);
    }
    return (uint16_t)(sum / count);
}

static float Filter_SlidingAverage(float new_value, float *buf, uint8_t size, uint8_t *index, bool *filled)
{
    float sum = 0.0f;
    uint8_t valid_count;

    buf[*index] = new_value;
    *index = (*index + 1) % size;
    if (*index == 0) *filled = true;

    valid_count = *filled ? size : *index;
    if (valid_count == 0) valid_count = 1;  /* 防止除零 */

    for (uint8_t i = 0; i < valid_count; i++) sum += buf[i];
    return sum / (float)valid_count;
}

/* ======================== 温度通道: 需求计算 ======================== */
/**
 * @brief 计算温度通道的风速需求 (水温激励 + 室温修正)
 * @param delta_t       水温 - 室温 温差 (℃)
 * @param ambient_temp  室内温度 (℃)
 * @return 温度通道需求 PWM 值 (0 ~ PWM_MAX_DUTY)
 */
static float Calc_TempDuty(float delta_t, float ambient_temp)
{
    /* 1. 温差线性映射: ΔT → 占空比百分比 */
    float duty_pct;
    if (delta_t <= TEMP_DELTA_LOW) {
        duty_pct = TEMP_DUTY_LOW_PCT;
    } else if (delta_t >= TEMP_DELTA_HIGH) {
        duty_pct = TEMP_DUTY_HIGH_PCT;
    } else {
        /* 线性插值 */
        duty_pct = TEMP_DUTY_LOW_PCT +
                   (delta_t - TEMP_DELTA_LOW) *
                   (TEMP_DUTY_HIGH_PCT - TEMP_DUTY_LOW_PCT) /
                   (TEMP_DELTA_HIGH - TEMP_DELTA_LOW);
    }

    float duty = (float)PWM_MAX_DUTY * duty_pct / 100.0f;

    /* 2. 室温修正: 高温环境蒸发更猛 → 增大排风 */
    float correction = 1.0f + (ambient_temp - TEMP_CORRECTION_CENTER) * TEMP_CORRECTION_RATE;
    if (correction < TEMP_CORRECTION_MIN) correction = TEMP_CORRECTION_MIN;
    if (correction > TEMP_CORRECTION_MAX) correction = TEMP_CORRECTION_MAX;

    duty *= correction;

    /* 3. 钳位 */
    if (duty < 0.0f) duty = 0.0f;
    if (duty > (float)PWM_MAX_DUTY) duty = (float)PWM_MAX_DUTY;

    return duty;
}

/* ======================== 升降速斜率限制 (基于真实时间) ======================== */
/**
 * @brief 对目标占空比施加升降速斜率限制, 避免需求切换导致风扇抖动
 *
 * 斜率限制作用于 "输出端", 不是传感器。
 * 使用真实时间间隔 dt 换算允许变化量, 与 PID 的时间基准一致,
 * 无论主循环快慢, 升/降速体感都相同。
 *
 * @param target   本次计算的目标占空比 (经过安全约束后)
 * @param current  当前实际输出的占空比 (上一轮 final_duty)
 * @return 斜率限制后的最终占空比
 */
static uint16_t SlewRateLimit(float target, uint16_t current)
{
    /* 记录上一次执行时刻, 用于计算真实 dt */
    static uint32_t last_slew_tick = 0;
    uint32_t now = HAL_GetTick();
    float dt;

    if (last_slew_tick == 0) {
        /* 首次调用: 记录时间基准, 从 current 出发用最小 dt 做一次正常限制 */
        last_slew_tick = now;
        dt = 0.001f; /* 最小 dt, 等效只允许极小变化, 不会跳变 */
    } else {
        dt = (float)(now - last_slew_tick) / 1000.0f;  /* 转为秒 */
        last_slew_tick = now;
    }

    /* dt 钳位: 最小 1ms 防除零, 最大 2s 防长时间挂起后暴冲 */
    if (dt < 0.001f) dt = 0.001f;
    if (dt > 2.0f) dt = 2.0f;

    float max_up   = (float)SLEW_RATE_UP_PER_SEC * dt;
    float max_down = (float)SLEW_RATE_DOWN_PER_SEC * dt;

    float diff = target - (float)current;

    if (diff > 0) {
        /* 升速: 有蒸汽时要尽快拉风量 */
        if (diff > max_up) diff = max_up;
    } else {
        /* 降速: 蒸汽刚减弱时不要立刻掉速 */
        if (diff < -max_down) diff = -max_down;
    }

    float result = (float)current + diff;
    if (result < 0.0f) result = 0.0f;
    if (result > (float)PWM_MAX_DUTY) result = (float)PWM_MAX_DUTY;

    return (uint16_t)result;
}

static void Fan_SetDuty(uint16_t duty)
{
    if (duty > PWM_MAX_DUTY) duty = PWM_MAX_DUTY;
    __HAL_TIM_SET_COMPARE(&htim1, TIM_CHANNEL_1, duty);
    g_sys.fan_running = (duty > 0);
}

static void Fan_Stop(void)
{
    __HAL_TIM_SET_COMPARE(&htim1, TIM_CHANNEL_1, 0);
    g_sys.fan_running = false;
}

static void Buzzer_On(void)
{
    HAL_GPIO_WritePin(BUZZER_GPIO_Port, BUZZER_Pin, GPIO_PIN_RESET);
}

static void Buzzer_Off(void)
{
    HAL_GPIO_WritePin(BUZZER_GPIO_Port, BUZZER_Pin, GPIO_PIN_SET);
}

static void LED_Set(bool green, bool yellow, bool red)
{
    HAL_GPIO_WritePin(LED_GREEN_GPIO_Port,  LED_GREEN_Pin,  green  ? GPIO_PIN_RESET : GPIO_PIN_SET);
    HAL_GPIO_WritePin(LED_YELLOW_GPIO_Port, LED_YELLOW_Pin, yellow ? GPIO_PIN_RESET : GPIO_PIN_SET);
    HAL_GPIO_WritePin(LED_RED_GPIO_Port,    LED_RED_Pin,    red    ? GPIO_PIN_RESET : GPIO_PIN_SET);
}

static void Debug_Print(const char *fmt, ...)
{
    char buf[128];
    va_list args;
    va_start(args, fmt);
    vsnprintf(buf, sizeof(buf), fmt, args);
    va_end(args);
    HAL_UART_Transmit(&huart1, (uint8_t *)buf, strlen(buf), 100);
}

/* USER CODE END 4 */

void Error_Handler(void)
{
  __disable_irq();
  while (1)
  {
  }
}
